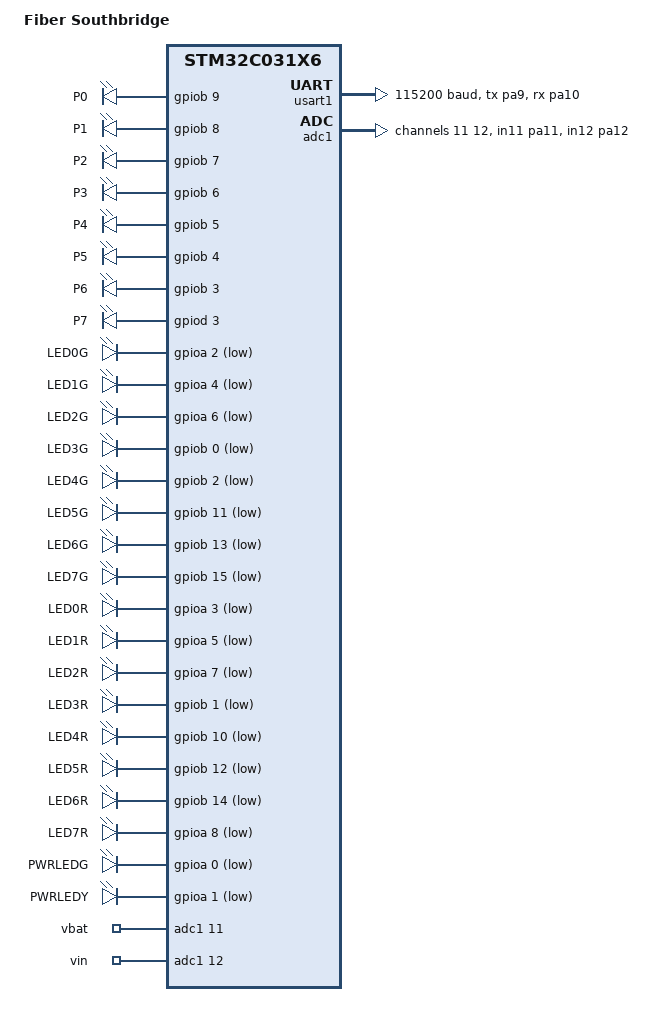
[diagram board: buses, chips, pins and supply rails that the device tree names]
/*
 * Copyright (c) 2026 Hardwario
 * SPDX-License-Identifier: Apache-2.0
 *
 * Board: Fiber Southbridge — STM32C031C6T6 controller for the fiber south
 * unit. USART1 (PA9/PA10) is the only host link, wired to RPi CM4 ttyAMA3.
 * Eight P-outputs, sixteen line-status LEDs (8 green + 8 red), two power
 * LEDs, ADC VIN/VBAT monitoring. System clock is HSI/4 = 12 MHz to match
 * the legacy CubeIDE firmware timing.
 */

/dts-v1/;
#include <st/c0/stm32c031X6.dtsi>
#include <st/c0/stm32c031c(4-6)tx-pinctrl.dtsi>
#include <zephyr/dt-bindings/adc/adc.h>

/ {
	model = "Fiber Southbridge";
	compatible = "hardwario,fiber-southbridge";

	chosen {
		zephyr,sram = &sram0;
		zephyr,flash = &flash0;
	};

	/*
	 * Application-controlled P outputs (P0..P7) — active-high.
	 * Exposed by node label so the application can collect them via a
	 * compile-time table (gpio_table.c).
	 */
	p_outputs: p_outputs {
		compatible = "gpio-leds";
		p0: p0 { gpios = <&gpiob 9 GPIO_ACTIVE_HIGH>; label = "P0"; };
		p1: p1 { gpios = <&gpiob 8 GPIO_ACTIVE_HIGH>; label = "P1"; };
		p2: p2 { gpios = <&gpiob 7 GPIO_ACTIVE_HIGH>; label = "P2"; };
		p3: p3 { gpios = <&gpiob 6 GPIO_ACTIVE_HIGH>; label = "P3"; };
		p4: p4 { gpios = <&gpiob 5 GPIO_ACTIVE_HIGH>; label = "P4"; };
		p5: p5 { gpios = <&gpiob 4 GPIO_ACTIVE_HIGH>; label = "P5"; };
		p6: p6 { gpios = <&gpiob 3 GPIO_ACTIVE_HIGH>; label = "P6"; };
		p7: p7 { gpios = <&gpiod 3 GPIO_ACTIVE_HIGH>; label = "P7"; };
	};

	/* Line status LEDs — active-low (open-drain to common rail). */
	leds_green: leds_green {
		compatible = "gpio-leds";
		led0g: led0g { gpios = <&gpioa  2 GPIO_ACTIVE_LOW>; label = "LED0G"; };
		led1g: led1g { gpios = <&gpioa  4 GPIO_ACTIVE_LOW>; label = "LED1G"; };
		led2g: led2g { gpios = <&gpioa  6 GPIO_ACTIVE_LOW>; label = "LED2G"; };
		led3g: led3g { gpios = <&gpiob  0 GPIO_ACTIVE_LOW>; label = "LED3G"; };
		led4g: led4g { gpios = <&gpiob  2 GPIO_ACTIVE_LOW>; label = "LED4G"; };
		led5g: led5g { gpios = <&gpiob 11 GPIO_ACTIVE_LOW>; label = "LED5G"; };
		led6g: led6g { gpios = <&gpiob 13 GPIO_ACTIVE_LOW>; label = "LED6G"; };
		led7g: led7g { gpios = <&gpiob 15 GPIO_ACTIVE_LOW>; label = "LED7G"; };
	};

	leds_red: leds_red {
		compatible = "gpio-leds";
		led0r: led0r { gpios = <&gpioa  3 GPIO_ACTIVE_LOW>; label = "LED0R"; };
		led1r: led1r { gpios = <&gpioa  5 GPIO_ACTIVE_LOW>; label = "LED1R"; };
		led2r: led2r { gpios = <&gpioa  7 GPIO_ACTIVE_LOW>; label = "LED2R"; };
		led3r: led3r { gpios = <&gpiob  1 GPIO_ACTIVE_LOW>; label = "LED3R"; };
		led4r: led4r { gpios = <&gpiob 10 GPIO_ACTIVE_LOW>; label = "LED4R"; };
		led5r: led5r { gpios = <&gpiob 12 GPIO_ACTIVE_LOW>; label = "LED5R"; };
		led6r: led6r { gpios = <&gpiob 14 GPIO_ACTIVE_LOW>; label = "LED6R"; };
		led7r: led7r { gpios = <&gpioa  8 GPIO_ACTIVE_LOW>; label = "LED7R"; };
	};

	pwr_leds: pwr_leds {
		compatible = "gpio-leds";
		pwrledg: pwrledg { gpios = <&gpioa 0 GPIO_ACTIVE_LOW>; label = "PWRLEDG"; };
		pwrledy: pwrledy { gpios = <&gpioa 1 GPIO_ACTIVE_LOW>; label = "PWRLEDY"; };
	};

	/*
	 * ADC reference for application — two channels read sequentially.
	 * Indices map to: io-channels = vbat (idx 0), vin (idx 1).
	 */
	zephyr,user {
		io-channels = <&adc1 11>, <&adc1 12>;
		io-channel-names = "vbat", "vin";
	};

	aliases {
		host-uart = &usart1;
	};
};

/*
 * System clock: HSI 48 MHz / 4 = 12 MHz on SYSCLK, AHB/APB unscaled.
 * Matches the legacy HAL configuration so UART/timer timings stay identical.
 */
&clk_hsi {
	hsi-div = <4>;
	status = "okay";
};

&rcc {
	clocks = <&clk_hsi>;
	clock-frequency = <DT_FREQ_M(12)>;
	ahb-prescaler = <1>;
	apb1-prescaler = <1>;
};

&usart1 {
	pinctrl-0 = <&usart1_tx_pa9 &usart1_rx_pa10>;
	pinctrl-names = "default";
	current-speed = <115200>;
	/*
	 * Enable the 8-byte RX FIFO. Without it, the RDR is 1-byte deep and
	 * any IRQ latency > ~87µs at 115200 baud causes overrun and silent
	 * byte loss. The legacy CubeIDE firmware explicitly *disabled* FIFO
	 * (HAL_UARTEx_DisableFifoMode) — it could get away with that because
	 * its mainloop did nothing but UART. The Zephyr port has a composer
	 * thread + soft timer + shell thread fighting for ticks, so the FIFO
	 * is mandatory to absorb that latency.
	 */
	fifo-enable;
	status = "okay";
};

&adc1 {
	pinctrl-0 = <&adc1_in11_pa11 &adc1_in12_pa12>;
	pinctrl-names = "default";
	st,adc-clock-source = "SYNC";
	st,adc-prescaler = <4>;
	status = "okay";
	#address-cells = <1>;
	#size-cells = <0>;

	channel@b {
		reg = <11>;
		zephyr,gain = "ADC_GAIN_1";
		zephyr,reference = "ADC_REF_INTERNAL";
		/* 161 = 160.5 ADC cycles. Must match one of the values in
 * stm32c0.dtsi's sampling-times = <2 4 8 13 20 40 80 161>;
 * any other value yields -EINVAL from adc_channel_setup_dt. */
zephyr,acquisition-time = <ADC_ACQ_TIME(ADC_ACQ_TIME_TICKS, 161)>;
		zephyr,resolution = <12>;
	};

	channel@c {
		reg = <12>;
		zephyr,gain = "ADC_GAIN_1";
		zephyr,reference = "ADC_REF_INTERNAL";
		/* 161 = 160.5 ADC cycles. Must match one of the values in
 * stm32c0.dtsi's sampling-times = <2 4 8 13 20 40 80 161>;
 * any other value yields -EINVAL from adc_channel_setup_dt. */
zephyr,acquisition-time = <ADC_ACQ_TIME(ADC_ACQ_TIME_TICKS, 161)>;
		zephyr,resolution = <12>;
	};
};
